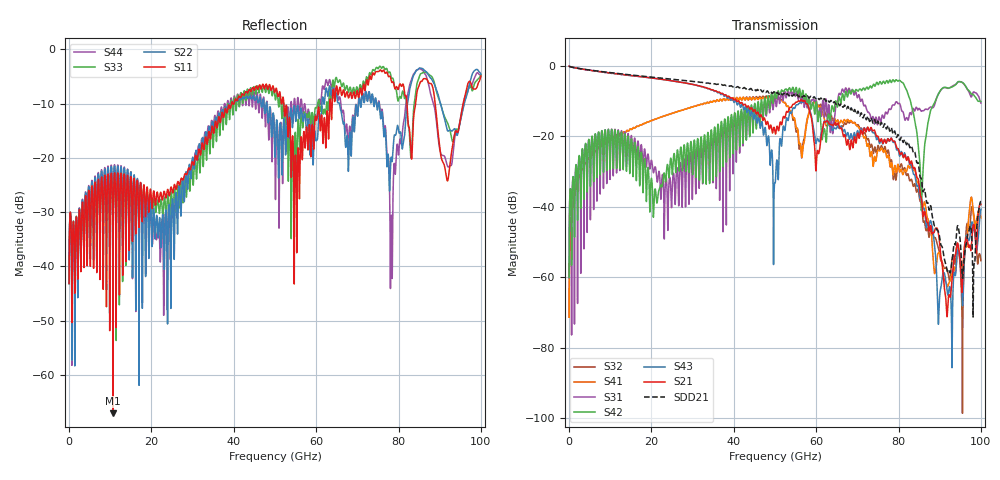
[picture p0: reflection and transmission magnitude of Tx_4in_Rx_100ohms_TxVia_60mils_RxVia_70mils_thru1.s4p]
! Info: Touchstone file created by Circ.  Input file=Tx_4in_Rx_100ohms_TxVia_60mils_RxVia_70mils.circ
# Hz S RI R 50
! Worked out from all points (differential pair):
!   10000 points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, 10 MHz to 100 GHz, reference 50 ohm
!   strongest paths, dB at 10 MHz, 25.01 GHz, 50.01 GHz, 75.01 GHz, 100 GHz:
!     S21: -0.1, -4.2, -18.8, -19.9, -39.3
!     S43: -0.1, -4.2, -33.2, -20.3, -40.6
!     S42: -60.0, -30.2, -7.4, -5.2, -10.1
!     S31: -60.0, -36.4, -8.8, -16.0, -10.5
!     S41: -71.3, -13.5, -9.2, -23.9, -43.1
!     S32: -71.3, -13.5, -8.8, -22.5, -55.3
!   taken as a pair (ports 1,3 in; 2,4 out), SDD21 dB: -0.1, -3.8, -7.8, -15.6, -38.4
!   lowest |S11| = -67.1 dB at 10.65 GHz (marker M1), VSWR 1.00, Z = 50 - j0.0343 ohm
!   |S11| at or under -10 dB: start of sweep to 39.43 GHz; 52.15 GHz to 63.28 GHz (11.13 GHz wide, 19.3 % of centre); 88.91 GHz to 95.7 GHz (6.798 GHz wide, 7.36 % of centre) (the widest 3 of 7)
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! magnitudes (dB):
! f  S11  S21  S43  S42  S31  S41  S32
! 10 MHz  -43.1  -0.1  -0.1  -60.0  -60.0  -71.3  -71.3
! 10.65 GHz  -67.1  -2.1  -2.1  -25.1  -26.2  -20.6  -20.6
! 62.87 GHz  -13.6  -15.9  -15.7  -14.2  -13.2  -16.7  -13.8
! 78.6 GHz  -6.0  -21.2  -21.5  -3.9  -11.1  -30.2  -30.8
! 85.61 GHz  -5.9  -38.1  -38.1  -39.4  -12.8  -38.3  -39.2
! 91.89 GHz  -24.2  -69.8  -64.5  -6.2  -6.3  -62.6  -58.2
! 100 GHz  -4.9  -39.3  -40.6  -10.1  -10.5  -43.1  -55.3
